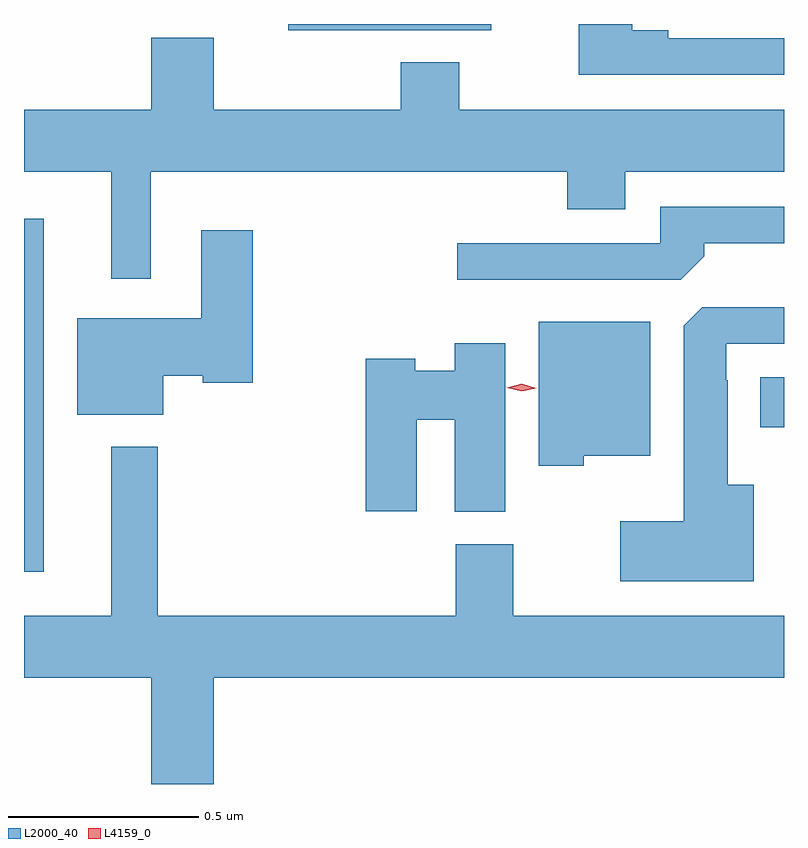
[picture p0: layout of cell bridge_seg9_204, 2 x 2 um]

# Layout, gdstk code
import gdstk
lib = gdstk.Library(unit=1e-6, precision=1e-09)
def R(c, l, rs):  # rectangles x0, y0, x1, y1
    for r in rs: c.add(gdstk.rectangle(r[:2], r[2:], *l))
def P(c, l, *ps):  # polygons
    for p in ps: c.add(gdstk.Polygon(p, *l))
L2000_40 = (2000, 40)
L4159_0 = (4159, 0)

bridge_seg9_204 = lib.new_cell('bridge_seg9_204')
R(bridge_seg9_204, L2000_40, [(200.637,1207.355,200.689,1208.284), (202.574,1207.736,202.637,1207.867), (201.333,1208.781,201.867,1208.797)])
P(bridge_seg9_204, L2000_40, [(202.637,1208.76),(202.333,1208.76),(202.333,1208.78),(202.237,1208.78),(202.237,1208.797),(202.097,1208.797),(202.097,1208.664),(202.637,1208.664)],
  [(200.971,1208.408),(202.067,1208.408),(202.067,1208.309),(202.219,1208.309),(202.219,1208.408),(202.637,1208.408),(202.637,1208.572),(201.783,1208.572),(201.783,1208.696),(201.628,1208.696),(201.628,1208.572),(201.136,1208.572),(201.136,1208.761),(200.972,1208.761),(200.972,1208.572),(200.637,1208.572),(200.637,1208.408),(200.867,1208.408),(200.867,1208.127),(200.971,1208.127)],
  [(202.427,1208.186),(202.427,1208.22),(202.637,1208.22),(202.637,1208.316),(202.311,1208.316),(202.311,1208.22),(201.777,1208.22),(201.777,1208.124),(202.365,1208.124)],
  [(201.004,1207.871),(201.108,1207.871),(201.108,1207.853),(201.239,1207.853),(201.239,1208.254),(201.104,1208.254),(201.104,1208.023),(200.777,1208.023),(200.777,1207.769),(201.004,1207.769)],
  [(202.558,1207.585),(202.489,1207.585),(202.489,1207.859),(202.485,1207.859),(202.485,1207.956),(202.637,1207.956),(202.637,1208.052),(202.422,1208.052),(202.373,1208.003),(202.373,1207.489),(202.206,1207.489),(202.206,1207.331),(202.558,1207.331)],
  [(202.11,1207.661),(202.285,1207.661),(202.285,1208.014),(201.992,1208.014),(201.992,1207.634),(202.11,1207.634)],
  [(201.904,1207.957),(201.77,1207.957),(201.77,1207.885),(201.666,1207.885),(201.666,1207.916),(201.536,1207.916),(201.536,1207.515),(201.67,1207.515),(201.67,1207.756),(201.77,1207.756),(201.77,1207.513),(201.904,1207.513)],
  [(201.136,1207.076),(202.637,1207.076),(202.637,1207.24),(201.925,1207.24),(201.925,1207.428),(201.773,1207.428),(201.773,1207.24),(200.989,1207.24),(200.989,1207.684),(200.867,1207.684),(200.867,1207.24),(200.637,1207.24),(200.637,1207.076),(200.972,1207.076),(200.972,1206.797),(201.136,1206.797)])
P(bridge_seg9_204, L4159_0, [(201.947,1207.83),(201.908,1207.84),(201.908,1207.84),(201.908,1207.84),(201.947,1207.85),(201.985,1207.839),(201.985,1207.839),(201.985,1207.839)])

lib.write_gds('bridge_seg9_204.gds')
